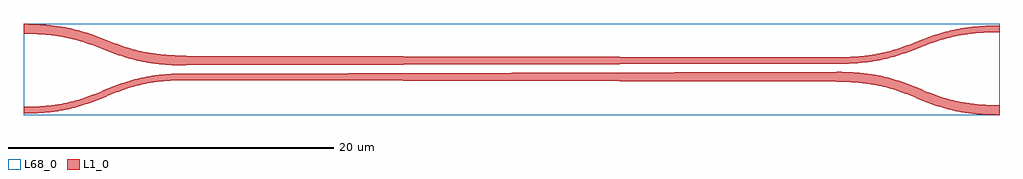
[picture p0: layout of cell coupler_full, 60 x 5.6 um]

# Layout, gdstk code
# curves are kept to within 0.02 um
import gdstk
lib = gdstk.Library(unit=1e-6, precision=1e-09)
def R(c, l, rs):  # rectangles x0, y0, x1, y1
    for r in rs: c.add(gdstk.rectangle(r[:2], r[2:], *l))
def P(c, l, *ps):  # polygons
    for p in ps: c.add(gdstk.Polygon(p, *l))
L1_0 = (1, 0)
L68_0 = (68, 0)

coupler_full = lib.new_cell('coupler_full')
P(coupler_full, L1_0, [(0,-0.65),(-0.719,-0.665),(-1.608,-0.733),(-2.276,-0.829),(-2.968,-0.976),(-4.075,-1.323),(-6.119,-2.12),(-7.335,-2.454),(-7.991,-2.569),(-8.725,-2.651),(-10,-2.7),(-10,-2.3),(-9.281,-2.285),(-8.392,-2.217),(-7.724,-2.121),(-7.032,-1.974),(-5.925,-1.627),(-3.881,-0.83),(-2.665,-0.496),(-2.009,-0.381),(-1.275,-0.299),(0,-0.25)],
  [(0,-0.25),(40,-0.15),(40,-0.75),(0,-0.65)],
  [(0,0.25),(-1.411,0.308),(-2.682,0.486),(-3.822,0.778),(-6.114,1.62),(-7.146,1.914),(-7.844,2.048),(-8.52,2.133),(-10,2.2),(-10,2.8),(-8.589,2.742),(-7.318,2.564),(-6.178,2.272),(-3.886,1.43),(-2.854,1.136),(-2.156,1.002),(-1.48,0.917),(0,0.85)],
  [(0,0.85),(40,0.75),(40,0.35),(0,0.25)],
  [(50,2.7),(48.472,2.631),(47.337,2.466),(46.122,2.149),(43.998,1.363),(42.97,1.06),(42.278,0.92),(41.609,0.829),(40.854,0.771),(40,0.75),(40,0.35),(41.528,0.419),(42.663,0.584),(43.878,0.901),(46.002,1.687),(47.03,1.99),(47.722,2.13),(48.391,2.221),(49.146,2.279),(50,2.3)],
  [(50,-2.2),(48.522,-2.13),(47.846,-2.04),(47.149,-1.9),(46.119,-1.591),(43.913,-0.735),(42.685,-0.398),(41.413,-0.211),(40,-0.15),(40,-0.75),(41.478,-0.82),(42.154,-0.91),(42.851,-1.05),(43.881,-1.359),(46.087,-2.215),(47.315,-2.552),(48.587,-2.739),(50,-2.8)])
R(coupler_full, L68_0, [(-10,-2.8,50,2.8)])

lib.write_gds('coupler_full.gds')
